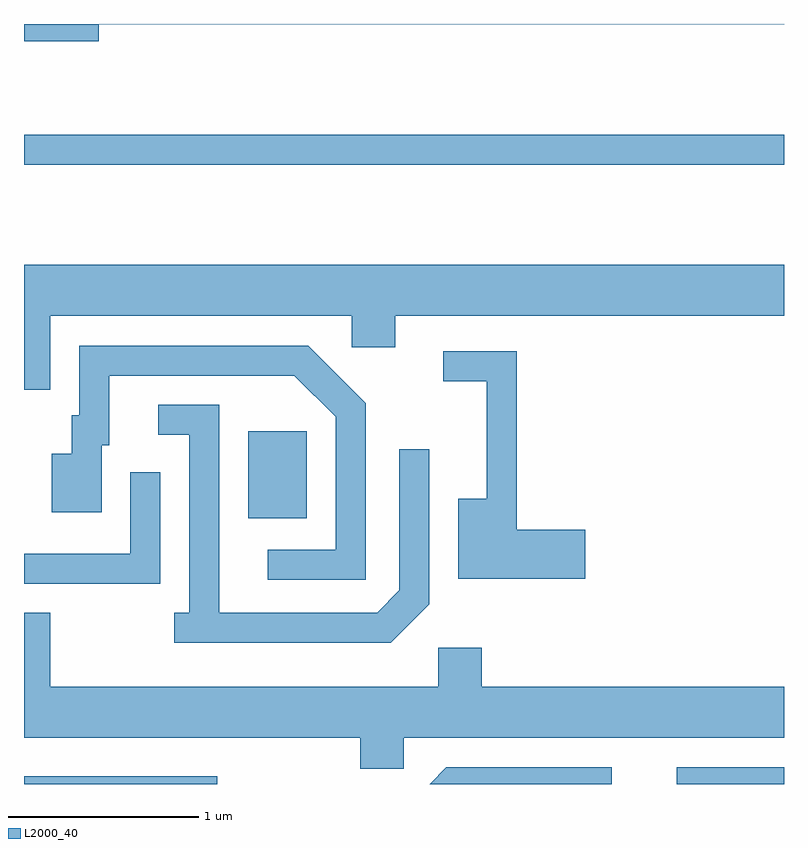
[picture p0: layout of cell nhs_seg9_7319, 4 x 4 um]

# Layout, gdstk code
import gdstk
lib = gdstk.Library(unit=1e-6, precision=1e-09)
def R(c, l, rs):  # rectangles x0, y0, x1, y1
    for r in rs: c.add(gdstk.rectangle(r[:2], r[2:], *l))
def P(c, l, *ps):  # polygons
    for p in ps: c.add(gdstk.Polygon(p, *l))
L2000_40 = (2000, 40)

nhs_seg9_7319 = lib.new_cell('nhs_seg9_7319')
R(nhs_seg9_7319, L2000_40, [(401.611,2020.432,402.629,2020.474), (405.046,2020.432,405.611,2020.519), (402.791,2021.831,403.099,2022.289), (401.611,2023.691,405.611,2023.849)])
P(nhs_seg9_7319, L2000_40, [(402.004,2024.431),(405.611,2024.431),(405.611,2024.432),(401.611,2024.432),(401.611,2024.341),(402.004,2024.341)],
  [(401.749,2022.896),(403.336,2022.896),(403.336,2022.731),(403.564,2022.731),(403.564,2022.896),(405.611,2022.896),(405.611,2023.164),(401.611,2023.164),(401.611,2022.506),(401.749,2022.506)],
  [(403.409,2022.437),(403.107,2022.739),(401.901,2022.739),(401.901,2022.374),(401.861,2022.374),(401.861,2022.169),(401.756,2022.169),(401.756,2021.861),(402.019,2021.861),(402.019,2022.216),(402.059,2022.216),(402.059,2022.581),(403.034,2022.581),(403.251,2022.364),(403.251,2021.664),(402.893,2021.664),(402.893,2021.506),(403.409,2021.506)],
  [(404.564,2021.769),(404.204,2021.769),(404.204,2022.709),(403.818,2022.709),(403.818,2022.551),(404.046,2022.551),(404.046,2021.934),(403.896,2021.934),(403.896,2021.511),(404.564,2021.511)],
  [(403.744,2021.379),(403.744,2022.193),(403.586,2022.193),(403.586,2021.452),(403.469,2021.334),(402.639,2021.334),(402.639,2022.429),(402.318,2022.429),(402.318,2022.271),(402.481,2022.271),(402.481,2021.334),(402.403,2021.334),(402.403,2021.176),(403.542,2021.176)],
  [(402.329,2022.073),(402.171,2022.073),(402.171,2021.644),(401.611,2021.644),(401.611,2021.486),(402.329,2021.486)],
  [(403.609,2020.676),(405.611,2020.676),(405.611,2020.944),(404.019,2020.944),(404.019,2021.149),(403.791,2021.149),(403.791,2020.944),(401.749,2020.944),(401.749,2021.334),(401.611,2021.334),(401.611,2020.676),(403.381,2020.676),(403.381,2020.511),(403.609,2020.511)],
  [(404.704,2020.519),(403.834,2020.519),(403.747,2020.432),(404.704,2020.432)])

lib.write_gds('nhs_seg9_7319.gds')
